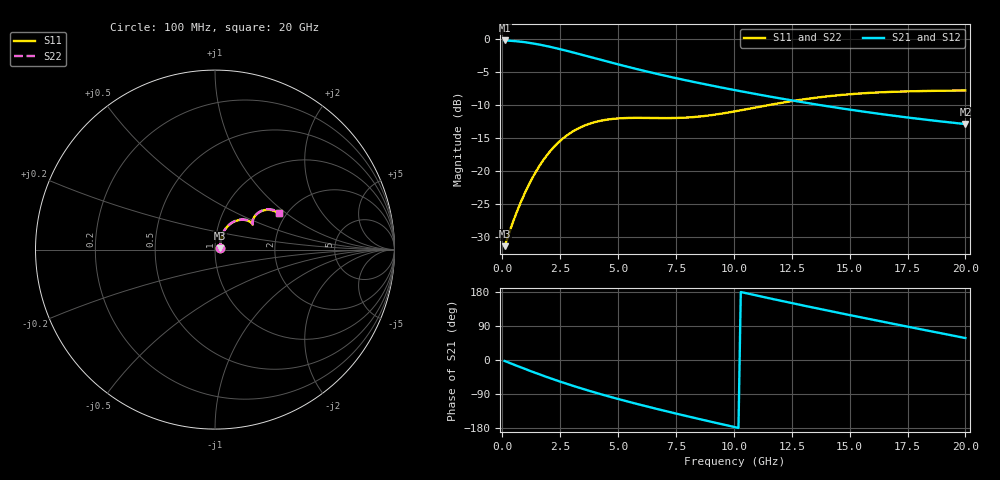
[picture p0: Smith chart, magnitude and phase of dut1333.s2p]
! Touchstone file exported from HFSS 2024.1.0
!  File:  C:/UserFiles/LocalFiles/RDL_TSV_Batchsim/temp_RDL_TSV_1333_1780389938.aedt
!  Generated:  05:01:29 PM Jun  2, 2026
!  Design:  RDL_TSV
!  Project:  temp_RDL_TSV_1333_1780389938
!  Setup:  Setup1
!  Solution:  Sweep
! Variables:
!  dtsv = 9.9um
!  hbump = 3um
!  htsv = 83.3um
!  ldown = 589.01um
!  lrdl = 676.6um
!  p = 40
!  p1 = 44.52um
!  rhole = 10um
!  subl = 4473.43um
!  t = 450um
!  tdown = 3.91um
!  trdl = 4.31um
!  viad = 10um
!  wdown = 24.15um
!  wrdl = 11.59um
!  xbump = 18um
# GHz S MA R 50.000000
! Terminal data exported
! Port[1] = TM1_1_T1
! Port[2] = TM1_4_T1
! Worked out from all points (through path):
!   200 points, 100 MHz to 20 GHz, reference 50 ohm
!   highest |S21| = -0.23 dB at 100 MHz (marker M1); lowest = -12.9 dB at 20 GHz (marker M2)
!   group delay of S21, straight-line fit = 40 ps
!   lowest |S11| = -31.4 dB at 100 MHz (marker M3), VSWR 1.06, Z = 52.7 + j0.734 ohm
!   |S11| at or under -10 dB: start of sweep to 11.53 GHz
!   |S22| runs from -31.4 to -7.7 dB; largest |S21 - S12| = 1.1e-14
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0.1  0.02697 15.0  0.9737 -2.5  0.9737 -2.5  0.02696 15.0
! Gamma 0 0 0 0
! Port Impedance 50 0 50 0
0.5  0.04292 45.8  0.9641 -12.3  0.9641 -12.3  0.0429 45.9
0.9  0.06371 58.3  0.9481 -21.8  0.9481 -21.8  0.06369 58.4
1.3  0.08863 63.2  0.9259 -31.0  0.9259 -31.0  0.08869 63.4
1.8  0.1228 63.5  0.8916 -42.2  0.8916 -42.2  0.1231 63.8
2.2  0.1501 61.3  0.8608 -50.8  0.8608 -50.8  0.1506 61.6
2.6  0.1753 57.9  0.8282 -59.1  0.8282 -59.1  0.176 58.2
3  0.1971 54.1  0.795 -67.1  0.795 -67.1  0.1981 54.4
3.5  0.2189 49.2  0.7538 -76.6  0.7538 -76.6  0.2201 49.6
4.3  0.2411 42.4  0.6915 -91.0  0.6915 -91.0  0.2427 42.7
5.1  0.2507 37.4  0.6354 -104.5  0.6354 -104.5  0.2526 37.7
5.9  0.2526 34.5  0.5859 -117.3  0.5859 -117.3  0.2548 34.7
6.8  0.2516 33.6  0.5377 -131.0  0.5377 -131.0  0.2539 33.8
7.6  0.2523 34.4  0.5003 -142.8  0.5003 -142.8  0.2548 34.6
8.4  0.2573 36.2  0.4672 -154.3  0.4672 -154.3  0.2598 36.4
10.1  0.2839 39.7  0.4078 -177.9  0.4078 -177.9  0.2866 39.8
11.8  0.3224 40.2  0.3597 159.4  0.3597 159.4  0.3253 40.3
13.4  0.3563 38.2  0.3223 138.7  0.3223 138.7  0.3595 38.4
15  0.3812 35.4  0.2916 118.6  0.2916 118.6  0.3848 35.5
16.7  0.3967 32.5  0.265 97.7  0.265 97.7  0.4007 32.7
18.3  0.4036 30.5  0.2445 78.4  0.2445 78.4  0.408 30.7
20  0.4076 29.6  0.2266 57.9  0.2266 57.9  0.4123 29.7
